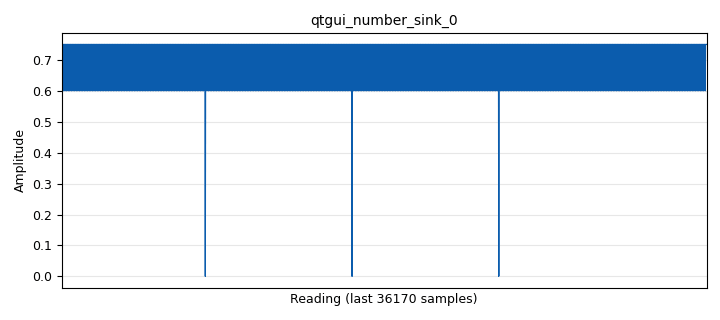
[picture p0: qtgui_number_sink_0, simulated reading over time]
<?xml version='1.0' encoding='utf-8'?>
<?grc format='1' created='3.7.12'?>
<flow_graph>
<block>
<key>options</key>
<param><key>id</key><value>top_block</value></param>
<param><key>generate_options</key><value>qt_gui</value></param>
</block>
<block>
<key>variable</key>
<param><key>id</key><value>samp_rate</value></param>
<param><key>value</key><value>32000</value></param>
</block>
<block>
<key>blocks_keep_m_in_n</key>
<param><key>id</key><value>blocks_keep_m_in_n_0</value></param>
<param><key>m</key><value>5</value></param>
<param><key>n</key><value>20</value></param>
<param><key>type</key><value>byte</value></param>
<param><key>offset</key><value>0</value></param>
</block>
<block>
<key>blocks_throttle</key>
<param><key>id</key><value>blocks_throttle_0</value></param>
<param><key>samples_per_second</key><value>samp_rate</value></param>
<param><key>type</key><value>byte</value></param>
</block>
<block>
<key>blocks_vector_source_x</key>
<param><key>id</key><value>blocks_vector_source_x_0</value></param>
<param><key>type</key><value>byte</value></param>
<param><key>repeat</key><value>True</value></param>
<param><key>vector</key><value>np.arange(0,256)</value></param>
</block>
<block>
<key>import</key>
<param><key>id</key><value>import_0</value></param>
<param><key>import</key><value>import numpy as np</value></param>
</block>
<block>
<key>epy_block</key>
<param><key>id</key><value>per_calc_0</value></param>
<param><key>_source_code</key><value>"""
Embedded Python Blocks:

Each time this file is saved, GRC will instantiate the first class it finds
to get ports and parameters of your block. The arguments to __init__  will
be the parameters. All of them are required to have default values!
"""

import numpy as np
from gnuradio import gr


class blk(gr.sync_block):  # other base classes are basic_block, decim_block, interp_block
    """Embedded Python Block  - This block takes the packet numbers of the received window size packets and calculates the quantity of the lost packets
       As for today, it only works for window sizes multiples of the length of the data.
    """

    def __init__(self, window_size=1, modulus=1):  # only default arguments here
        """arguments to this function show up as parameters in GRC"""
        gr.sync_block.__init__(
            self,
            name='PER Calculator',   # will show up in GRC
            in_sig=[np.int8],
            out_sig=[np.float32]
        )
        # if an attribute with the same name as a parameter is found,
        # a callback is registered (properties work, too).
        self.window_size = window_size
        self.modulus = modulus

    def work(self, input_items, output_items):
        """example: multiply with constant"""
        # self.set_history(self.window_size)
        # print("input size -&gt; {}".format(len(input_items[0])))
        consumed = (len(input_items[0]-self.window_size+1))
        if len(input_items[0]) &lt; self.window_size:
            return 0    
            # per = erros + window_size
        for i in range(0 ,consumed):
            observed = input_items[0][i:self.window_size+i]
            errors = sum((np.diff(observed) % self.modulus)-1)
            output_items[0][i]= float(errors)/(self.window_size+errors)
            if output_items[0][i] &lt;= 1 and output_items[0][i] &gt;= 0 and i%self.window_size==0: #printa uma vez apenas valores entre 0 e 1
                # print(i) 
                if output_items[0][i] &lt; 0.25:
            	    print("Erros -&gt;{} - Sugerido 8PSK SEM FEC" .format(output_items[0][i]))
                if output_items[0][i] &lt; 0.50 and output_items[0][i] &gt;= 0.25:
                    print("Erros -&gt;{} - Sugerido QPSK SEM FEC" .format(output_items[0][i]))
                if output_items[0][i] &lt;= 0.75 and output_items[0][i] &gt;= 0.50:
                    print("Erros -&gt;{} - Sugerido QPSK COM FEC" .format(output_items[0][i]))
                if output_items[0][i] &lt;= 1 and output_items[0][i] &gt;= 0.75:
                    print("Erros -&gt;{} - Sugerido BPSK COM FEC" .format(output_items[0][i]))
        # self.consume(0,consumed)
        
        return len(output_items[0])
</value></param>
<param><key>modulus</key><value>256</value></param>
<param><key>window_size</key><value>10</value></param>
</block>
<block>
<key>qtgui_number_sink</key>
<param><key>id</key><value>qtgui_number_sink_0</value></param>
<param><key>graph_type</key><value>qtgui.NUM_GRAPH_HORIZ</value></param>
<param><key>type</key><value>float</value></param>
</block>
<connection><source_block_id>blocks_keep_m_in_n_0</source_block_id><sink_block_id>per_calc_0</sink_block_id><source_key>0</source_key><sink_key>0</sink_key></connection>
<connection><source_block_id>blocks_throttle_0</source_block_id><sink_block_id>blocks_keep_m_in_n_0</sink_block_id><source_key>0</source_key><sink_key>0</sink_key></connection>
<connection><source_block_id>blocks_vector_source_x_0</source_block_id><sink_block_id>blocks_throttle_0</sink_block_id><source_key>0</source_key><sink_key>0</sink_key></connection>
<connection><source_block_id>per_calc_0</source_block_id><sink_block_id>qtgui_number_sink_0</sink_block_id><source_key>0</source_key><sink_key>0</sink_key></connection>
</flow_graph>
